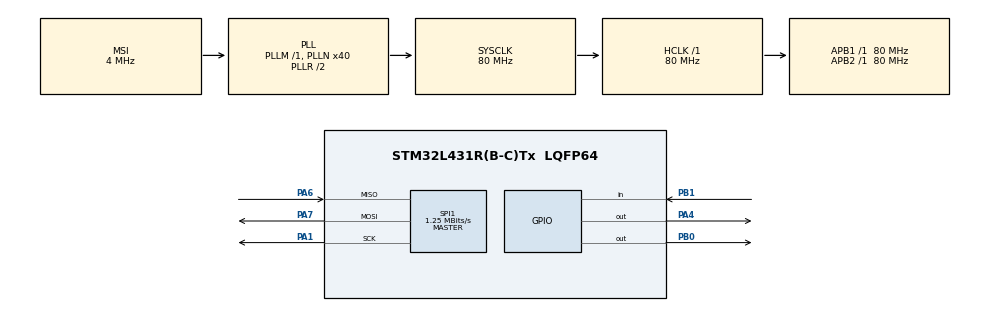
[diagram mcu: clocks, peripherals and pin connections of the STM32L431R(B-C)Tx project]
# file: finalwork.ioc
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Mcu.Family=STM32L4
Mcu.Name=STM32L431R(B-C)Tx
Mcu.Package=LQFP64
NVIC.PriorityGroup=NVIC_PRIORITYGROUP_4
PA1.Mode=Full_Duplex_Master
PA1.Signal=SPI1_SCK
PA13\ (JTMS-SWDIO).Mode=Serial_Wire
PA13\ (JTMS-SWDIO).Signal=SYS_JTMS-SWDIO
PA14\ (JTCK-SWCLK).Mode=Serial_Wire
PA14\ (JTCK-SWCLK).Signal=SYS_JTCK-SWCLK
PA4.PinState=GPIO_PIN_SET
PA4.Signal=GPIO_Output
PA6.Mode=Full_Duplex_Master
PA6.Signal=SPI1_MISO
PA7.Mode=Full_Duplex_Master
PA7.Signal=SPI1_MOSI
PB0.PinState=GPIO_PIN_SET
PB0.Signal=GPIO_Output
PB1.Signal=GPIO_Input
ProjectManager.HeapSize=0x200
ProjectManager.StackSize=0x400
ProjectManager.TargetToolchain=MDK-ARM V5.32
RCC.AHBFreq_Value=80000000
RCC.APB1Freq_Value=80000000
RCC.APB1TimFreq_Value=80000000
RCC.APB2Freq_Value=80000000
RCC.APB2TimFreq_Value=80000000
RCC.CortexFreq_Value=80000000
RCC.HCLKFreq_Value=80000000
RCC.HSE_VALUE=8000000
RCC.HSI48_VALUE=48000000
RCC.HSI_VALUE=16000000
RCC.LSE_VALUE=32768
RCC.MSI_VALUE=4000000
RCC.PLLN=40
RCC.SYSCLKFreq_VALUE=80000000
RCC.SYSCLKSource=RCC_SYSCLKSOURCE_PLLCLK
RCC.VCOOutputFreq_Value=160000000
SPI1.BaudRatePrescaler=SPI_BAUDRATEPRESCALER_64
SPI1.CalculateBaudRate=1.25 MBits/s
SPI1.DataSize=SPI_DATASIZE_8BIT
SPI1.Direction=SPI_DIRECTION_2LINES
SPI1.Mode=SPI_MODE_MASTER
SPI1.VirtualType=VM_MASTER
board=custom

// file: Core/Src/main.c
/* USER CODE BEGIN Header */
/**
  ******************************************************************************
  * @file           : main.c
  * @brief          : L431 Transmitter Node (TX) Main program body (SPI1 Version)
  ******************************************************************************
  */
/* USER CODE END Header */
#include "main.h"
#include "spi.h"
#include "gpio.h"
#include <string.h>
#include <stdio.h>

volatile uint8_t version = 0;
volatile uint32_t heartbeat = 0;

void SystemClock_Config(void);

/* USER CODE BEGIN PFP */
uint8_t SX1278_ReadReg(uint8_t addr);
void SX1278_WriteReg(uint8_t addr, uint8_t data);
void SX1278_Init_TX(void);
void SX1278_Transmit(uint8_t *data, uint8_t len);

// --- Debug Variables ---
volatile HAL_StatusTypeDef dbg_spi_status;
volatile uint8_t dbg_spi_rx[2];
// -----------------------
/* USER CODE END PFP */

int main(void)
{
  HAL_Init();
  SystemClock_Config();

  MX_GPIO_Init();
  MX_SPI1_Init();

  // ========================================================
  // SPI1 Pin Mapping (PA4, PA5, PA6, PA7)
  // ========================================================
  GPIO_InitTypeDef GPIO_InitStruct = {0};
  __HAL_RCC_GPIOA_CLK_ENABLE();
  __HAL_RCC_GPIOB_CLK_ENABLE();

  // 1. NSS (PA4)
  HAL_GPIO_WritePin(GPIOA, GPIO_PIN_4, GPIO_PIN_SET);
  GPIO_InitStruct.Pin = GPIO_PIN_4;
  GPIO_InitStruct.Mode = GPIO_MODE_OUTPUT_PP;
  GPIO_InitStruct.Pull = GPIO_NOPULL;
  GPIO_InitStruct.Speed = GPIO_SPEED_FREQ_HIGH;
  HAL_GPIO_Init(GPIOA, &GPIO_InitStruct);

  // 2. RST (PB0)
  HAL_GPIO_WritePin(GPIOB, GPIO_PIN_0, GPIO_PIN_SET);
  GPIO_InitStruct.Pin = GPIO_PIN_0;
  GPIO_InitStruct.Mode = GPIO_MODE_OUTPUT_PP;
  GPIO_InitStruct.Pull = GPIO_NOPULL;
  GPIO_InitStruct.Speed = GPIO_SPEED_FREQ_LOW;
  HAL_GPIO_Init(GPIOB, &GPIO_InitStruct);

  // 3. SCK, MISO, MOSI (PA5, PA6, PA7) -> AF5_SPI1
  GPIO_InitStruct.Pin = GPIO_PIN_5 | GPIO_PIN_6 | GPIO_PIN_7;
  GPIO_InitStruct.Mode = GPIO_MODE_AF_PP;
  GPIO_InitStruct.Pull = GPIO_NOPULL;
  GPIO_InitStruct.Speed = GPIO_SPEED_FREQ_VERY_HIGH;
  GPIO_InitStruct.Alternate = GPIO_AF5_SPI1;
  HAL_GPIO_Init(GPIOA, &GPIO_InitStruct);
  // ========================================================

  /* USER CODE BEGIN 2 */
  // 1. Hardware Reset SX1278
  HAL_GPIO_WritePin(GPIOB, GPIO_PIN_0, GPIO_PIN_RESET);
  HAL_Delay(20);
  HAL_GPIO_WritePin(GPIOB, GPIO_PIN_0, GPIO_PIN_SET);
  HAL_Delay(50);

  // 2. Read Silicon Version
  version = SX1278_ReadReg(0x42);

  if(version != 0x12) {
      // ?? ????????? (The breakpoint MUST be here)
      while(1);
  }

  // 3. Init TX Mode
  SX1278_Init_TX();
  /* USER CODE END 2 */

  /* Infinite loop */
  while (1)
  {
    /* USER CODE BEGIN 3 */
    uint32_t temp_int = 25;
    uint32_t temp_dec = heartbeat % 10;
    uint32_t humi_int = 60;
    uint32_t humi_dec = (heartbeat * 3) % 10;

    uint8_t payload[50];
    int len = sprintf((char*)payload, "1,%u.%u,%u.%u", temp_int, temp_dec, humi_int, humi_dec);

    SX1278_Transmit(payload, len);

    heartbeat++;
    HAL_Delay(1000);
    /* USER CODE END 3 */
  }
}

void SystemClock_Config(void)
{
  RCC_OscInitTypeDef RCC_OscInitStruct = {0};
  RCC_ClkInitTypeDef RCC_ClkInitStruct = {0};

  if (HAL_PWREx_ControlVoltageScaling(PWR_REGULATOR_VOLTAGE_SCALE1) != HAL_OK) { Error_Handler(); }

  RCC_OscInitStruct.OscillatorType = RCC_OSCILLATORTYPE_MSI;
  RCC_OscInitStruct.MSIState = RCC_MSI_ON;
  RCC_OscInitStruct.MSICalibrationValue = 0;
  RCC_OscInitStruct.MSIClockRange = RCC_MSIRANGE_6;
  RCC_OscInitStruct.PLL.PLLState = RCC_PLL_ON;
  RCC_OscInitStruct.PLL.PLLSource = RCC_PLLSOURCE_MSI;
  RCC_OscInitStruct.PLL.PLLM = 1;
  RCC_OscInitStruct.PLL.PLLN = 40;
  RCC_OscInitStruct.PLL.PLLP = RCC_PLLP_DIV7;
  RCC_OscInitStruct.PLL.PLLQ = RCC_PLLQ_DIV2;
  RCC_OscInitStruct.PLL.PLLR = RCC_PLLR_DIV2;
  if (HAL_RCC_OscConfig(&RCC_OscInitStruct) != HAL_OK) { Error_Handler(); }

  RCC_ClkInitStruct.ClockType = RCC_CLOCKTYPE_HCLK|RCC_CLOCKTYPE_SYSCLK
                              |RCC_CLOCKTYPE_PCLK1|RCC_CLOCKTYPE_PCLK2;
  RCC_ClkInitStruct.SYSCLKSource = RCC_SYSCLKSOURCE_PLLCLK;
  RCC_ClkInitStruct.AHBCLKDivider = RCC_SYSCLK_DIV1;
  RCC_ClkInitStruct.APB1CLKDivider = RCC_HCLK_DIV1;
  RCC_ClkInitStruct.APB2CLKDivider = RCC_HCLK_DIV1;
  if (HAL_RCC_ClockConfig(&RCC_ClkInitStruct, FLASH_LATENCY_4) != HAL_OK) { Error_Handler(); }
}

/* USER CODE BEGIN 4 */
// --- Bare-metal SPI Transfer to bypass HAL bugs ---
uint8_t SX1278_SPI_Transfer(uint8_t tx_data)
{
    // Ensure SPI is enabled
    if ((hspi1.Instance->CR1 & SPI_CR1_SPE) == 0) {
        hspi1.Instance->CR1 |= SPI_CR1_SPE;
    }

    // Wait for TX FIFO to have space
    while ((hspi1.Instance->SR & SPI_SR_TXE) == 0) {}

    // Write 8-bit data (STM32L4 requires 8-bit pointer cast for 8-bit mode)
    *(__IO uint8_t *)&hspi1.Instance->DR = tx_data;

    // Wait for RX FIFO to receive data
    while ((hspi1.Instance->SR & SPI_SR_RXNE) == 0) {}

    // Read 8-bit data
    return *(__IO uint8_t *)&hspi1.Instance->DR;
}

uint8_t SX1278_ReadReg(uint8_t addr)
{
    uint8_t rx_data;

    HAL_GPIO_WritePin(GPIOA, GPIO_PIN_4, GPIO_PIN_RESET);
    SX1278_SPI_Transfer(addr & 0x7F);        // Send Read Address
    rx_data = SX1278_SPI_Transfer(0xFF);     // Send Dummy Byte 0xFF (Changed from 0x00 for loopback testing)
    HAL_GPIO_WritePin(GPIOA, GPIO_PIN_4, GPIO_PIN_SET);

    // Save to debug variables for watch window
    dbg_spi_status = HAL_OK;
    dbg_spi_rx[0] = addr;
    dbg_spi_rx[1] = rx_data;

    return rx_data;
}

void SX1278_WriteReg(uint8_t addr, uint8_t data)
{
    HAL_GPIO_WritePin(GPIOA, GPIO_PIN_4, GPIO_PIN_RESET);
    SX1278_SPI_Transfer(addr | 0x80);        // Send Write Address
    SX1278_SPI_Transfer(data);               // Send Data
    HAL_GPIO_WritePin(GPIOA, GPIO_PIN_4, GPIO_PIN_SET);
}

void SX1278_Init_TX(void)
{
    SX1278_WriteReg(0x01, 0x80);
    HAL_Delay(10);
    SX1278_WriteReg(0x01, 0x81);
    HAL_Delay(10);
    SX1278_WriteReg(0x06, 0x6C);
    SX1278_WriteReg(0x07, 0x40);
    SX1278_WriteReg(0x08, 0x00);
    SX1278_WriteReg(0x09, 0xFF);
    SX1278_WriteReg(0x1D, 0x72);
    SX1278_WriteReg(0x1E, 0x74);
    SX1278_WriteReg(0x0E, 0x00);
    SX1278_WriteReg(0x0F, 0x00);
}

void SX1278_Transmit(uint8_t *data, uint8_t len)
{
    SX1278_WriteReg(0x01, 0x81);
    SX1278_WriteReg(0x0D, 0x00);
    SX1278_WriteReg(0x22, len);
    for(uint8_t i = 0; i < len; i++) {
        SX1278_WriteReg(0x00, data[i]);
    }
    SX1278_WriteReg(0x01, 0x8B);
    while((SX1278_ReadReg(0x12) & 0x08) == 0) { }
    SX1278_WriteReg(0x12, 0x08);
}
/* USER CODE END 4 */

void Error_Handler(void)
{
  __disable_irq();
  while (1) { }
}
